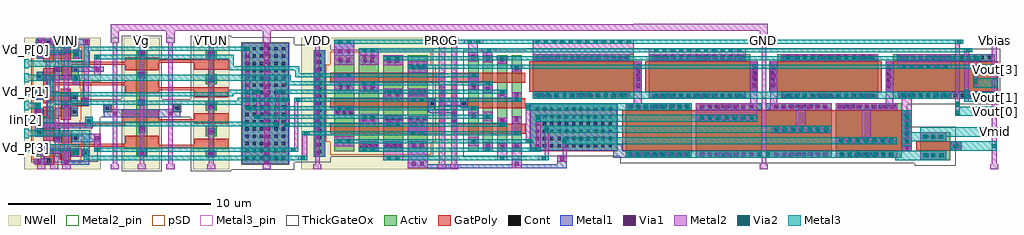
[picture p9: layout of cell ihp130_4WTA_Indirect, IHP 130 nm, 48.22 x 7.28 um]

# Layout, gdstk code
import gdstk
lib = gdstk.Library(unit=1e-6, precision=1e-09)
def R(c, l, rs):  # rectangles x0, y0, x1, y1
    for r in rs: c.add(gdstk.rectangle(r[:2], r[2:], *l))
def A(c, l, x, y, w, h, nx, ny, dx, dy):  # array of equal rectangles
    R(c, l, [(x+i*dx, y+j*dy, x+i*dx+w, y+j*dy+h) for i in range(nx) for j in range(ny)])
Activ = (1, 0)
GatPoly = (5, 0)
Cont = (6, 0)
Metal1 = (8, 0)
Metal2 = (10, 0)
Metal2_pin = (10, 2)
pSD = (14, 0)
Via1 = (19, 0)
Via2 = (29, 0)
Metal3 = (30, 0)
Metal3_pin = (30, 2)
NWell = (31, 0)
ThickGateOx = (44, 0)

indirectvmm_4x1_wtabias = lib.new_cell('IndirectVMM_4x1_WTABias')
R(indirectvmm_4x1_wtabias, Activ, [(5.72,2.17,7.74,2.59), (10.65,2.17,11.19,7.43), (14.07,2.17,14.61,2.46), (7.95,2.18,8.28,2.55), (14.21,2.46,14.5,3.17), (6.63,2.88,7.81,3.14), (5.72,3.14,7.81,3.3), (14.08,3.17,14.62,3.66), (5.72,3.3,6.9,3.56), (14.21,3.66,14.5,4.44), (5.72,4.03,6.82,4.17), (5.72,4.17,7.75,4.45), (9.05,4.38,9.41,4.73), (12.47,4.39,12.83,4.74), (14.08,4.44,14.62,4.93), (6.66,4.45,7.75,4.59), (6.66,4.91,7.75,4.99), (14.21,4.93,14.5,5.75), (5.72,4.99,7.75,5.33), (5.72,5.33,6.81,5.41), (14.08,5.75,14.62,6.24), (5.72,5.94,6.9,6.2), (5.72,6.2,7.81,6.36), (14.21,6.24,14.5,7.06), (6.63,6.36,7.81,6.62), (5.72,7,7.81,7.42), (14.08,7.06,14.62,7.43)])
R(indirectvmm_4x1_wtabias, GatPoly, [(6.06,1.76,6.56,2.77), (6.9,1.99,7.4,2.66), (10.09,2.56,11.75,2.6), (13.52,2.56,15.18,2.6), (10.09,2.6,15.18,2.66), (6.9,2.66,15.18,2.75), (6.9,2.75,11.75,2.81), (13.52,2.75,15.18,3.06), (6.97,2.81,7.47,3.48), (10.09,2.81,11.75,3.21), (6.06,2.95,6.56,3.66), (6.06,3.66,10.09,3.81), (13.52,3.8,15.18,3.86), (6.06,3.81,6.56,4.63), (9.93,3.81,10.09,3.85), (9.93,3.85,11.75,3.86), (9.93,3.86,15.18,4.01), (6.91,3.99,7.41,4.67), (9.93,4.01,11.75,4.5), (13.52,4.01,15.18,4.3), (6.91,4.67,8.31,4.82), (6.06,4.81,6.56,5.69), (6.91,4.82,7.41,5.51), (7.93,4.82,8.31,5.08), (13.52,5.09,15.18,5.44), (10.09,5.29,11.75,5.44), (10.09,5.44,15.18,5.59), (10.09,5.59,11.75,5.69), (6.06,5.69,11.75,5.84), (6.06,5.84,6.56,6.54), (10.09,5.84,11.75,5.94), (6.97,6.02,7.47,6.71), (10.09,6.43,11.75,6.71), (13.52,6.45,15.18,6.8), (6.97,6.71,11.75,6.74), (6.91,6.74,11.75,6.8), (6.91,6.8,15.18,6.86), (6.06,6.82,6.56,7.98), (6.91,6.86,7.41,7.6), (10.09,6.86,15.18,6.95), (10.09,6.95,11.75,7.08)])
R(indirectvmm_4x1_wtabias, Cont, [(6.23,1.87,6.39,2.03), (14.265,2.245,14.425,2.405), (8.04,2.28,8.2,2.44), (10.845,2.285,11.005,2.445), (5.79,2.3,5.95,2.46), (7.51,2.3,7.67,2.46), (6.7,2.99,6.86,3.15), (7.58,3,7.74,3.16), (5.79,3.26,5.95,3.42), (14.275,3.335,14.435,3.495), (10.845,3.475,11.005,3.635), (5.79,4.15,5.95,4.31), (7.52,4.3,7.68,4.46), (9.145,4.475,9.305,4.635), (12.575,4.485,12.735,4.645), (14.275,4.595,14.435,4.755), (10.825,4.765,10.985,4.925), (8.045,4.805,8.205,4.965), (7.52,5.03,7.68,5.19), (5.79,5.11,5.95,5.27), (14.275,5.895,14.435,6.055), (5.79,6.06,5.95,6.22), (10.845,6.115,11.005,6.275), (6.7,6.36,6.86,6.52), (7.58,6.36,7.74,6.52), (5.79,7.12,5.95,7.28), (7.58,7.12,7.74,7.28), (14.275,7.145,14.435,7.305), (10.845,7.195,11.005,7.355), (6.22,7.74,6.38,7.9)])
R(indirectvmm_4x1_wtabias, Metal1, [(6.95,1.77,8.32,1.99), (5.59,1.8,6.46,2.07), (6.95,1.99,7.18,2.32), (8.06,1.99,8.32,2.23), (6.16,2.07,6.46,2.1), (14.19,2.14,14.52,2.49), (7.4,2.17,7.79,2.59), (10.71,2.18,11.14,2.56), (7.99,2.23,8.32,2.49), (5.72,2.25,6.06,2.32), (5.72,2.32,7.18,2.59), (6.56,2.88,6.97,3.3), (7.47,2.88,8.9,3.3), (5.63,3.14,6.06,3.56), (14.19,3.26,14.52,3.57), (10.76,3.38,11.08,3.71), (5.63,3.56,8.49,3.84), (8.12,3.84,8.49,4.14), (5.63,4.03,6.06,4.57), (9.05,4.12,12.83,4.5), (7.41,4.17,7.75,4.54), (9.05,4.5,9.41,4.73), (12.47,4.5,12.83,4.74), (14.18,4.5,14.53,4.85), (6.97,4.54,7.75,4.91), (7.96,4.68,8.29,5.06), (10.74,4.68,11.07,5.01), (7.41,4.91,7.75,5.33), (5.7,4.99,6.06,5.41), (7.51,5.69,7.85,5.94), (14.19,5.81,14.52,6.13), (5.72,5.94,7.85,6.18), (10.75,6.03,11.09,6.36), (5.72,6.18,6.06,6.36), (6.58,6.36,6.97,6.62), (7.47,6.36,9.03,6.62), (5.72,7,6.06,7.19), (7.54,7,7.93,7.42), (14.17,7.06,14.52,7.39), (10.74,7.12,11.1,7.43), (5.72,7.19,7.34,7.42), (7.05,7.42,7.34,7.49), (5.68,7.67,8.35,7.96)])
R(indirectvmm_4x1_wtabias, Metal2, [(5.76,1.55,6.16,1.8), (6.39,1.55,6.79,1.8), (7,1.55,7.4,1.8), (9.39,1.55,9.79,1.8), (10.72,1.55,11.12,1.8), (12.14,1.55,12.54,1.8), (14.16,1.55,14.56,1.8), (5.59,1.8,6.16,2.07), (6.59,1.8,6.79,2.01), (7.07,1.8,7.3,7.8), (9.48,1.8,9.71,7.8), (10.81,1.8,11.04,7.8), (12.23,1.8,12.46,7.8), (14.24,1.8,14.47,7.8), (6.59,2.01,6.84,2.21), (5.93,2.07,6.13,2.61), (7.53,2.17,7.99,2.55), (6.61,2.21,6.84,7.32), (8.56,2.41,8.9,3.3), (5.93,2.61,6.39,2.83), (6.19,2.83,6.39,6.55), (8.12,3.56,8.49,4.14), (5.61,4.25,5.93,4.78), (7.99,4.75,8.29,5.05), (5.65,5.05,5.98,5.53), (8.06,5.05,8.29,7.68), (7.51,5.69,7.85,6.22), (8.56,6.2,8.9,7.19), (6.18,6.55,6.39,6.75), (6.18,6.75,6.38,7.09), (7.55,7,7.84,7.51), (5.87,7.09,6.38,7.29), (5.87,7.29,6.07,7.67), (6.59,7.32,6.84,7.45), (6.59,7.45,6.79,7.8), (5.76,7.67,6.07,7.77), (8.02,7.68,8.35,7.97), (5.76,7.77,6.16,8.05), (6.39,7.8,6.79,8.05), (7,7.8,7.4,8.05), (9.39,7.8,9.79,8.05), (10.72,7.8,11.12,8.05), (12.14,7.8,12.54,8.05), (14.16,7.8,14.56,8.05)])
R(indirectvmm_4x1_wtabias, Metal2_pin, [(5.76,7.8,6.16,8.05), (6.39,7.8,6.79,8.05), (7,7.8,7.4,8.05), (9.39,7.8,9.79,8.05), (10.72,7.8,11.12,8.05), (12.14,7.8,12.54,8.05), (14.16,7.8,14.56,8.05)])
R(indirectvmm_4x1_wtabias, pSD, [(5.66,1.77,7.8,1.99), (5.54,1.99,7.92,2.7), (5.54,2.7,7.99,3.48), (5.54,3.48,7.87,3.99), (5.54,3.99,7.93,5.51), (9.02,4.35,9.44,4.76), (12.44,4.36,12.86,4.77), (5.54,5.51,7.87,6.02), (5.54,6.02,7.99,7.6), (5.66,7.6,7.81,7.82)])
R(indirectvmm_4x1_wtabias, Via1, [(7.095,1.785,7.285,1.975), (5.735,1.835,5.925,2.025), (14.265,2.245,14.455,2.435), (10.835,2.265,11.025,2.455), (7.585,2.305,7.775,2.495), (6.635,2.985,6.825,3.175), (8.63,2.985,8.82,3.175), (14.265,3.315,14.455,3.505), (10.835,3.465,11.025,3.655), (8.215,3.82,8.405,4.01), (9.505,4.205,9.695,4.395), (12.245,4.205,12.435,4.395), (5.685,4.345,5.875,4.535), (14.255,4.585,14.445,4.775), (7.095,4.635,7.285,4.825), (10.825,4.765,11.015,4.955), (8.045,4.805,8.235,4.995), (5.725,5.155,5.915,5.345), (14.255,5.885,14.445,6.075), (7.575,5.935,7.765,6.125), (10.825,6.115,11.015,6.305), (6.635,6.385,6.825,6.575), (8.635,6.385,8.825,6.575), (7.595,7.125,7.785,7.315), (14.255,7.135,14.445,7.325), (10.835,7.175,11.025,7.365), (7.095,7.245,7.285,7.435), (8.095,7.72,8.285,7.91), (5.775,7.725,5.965,7.915)])
R(indirectvmm_4x1_wtabias, Via2, [(7.585,2.305,7.775,2.495), (8.635,2.415,8.825,2.605), (8.215,3.82,8.405,4.01), (5.675,4.555,5.865,4.745), (5.725,5.155,5.915,5.345), (7.575,5.975,7.765,6.165), (8.635,6.995,8.825,7.185), (7.595,7.185,7.785,7.375)])
R(indirectvmm_4x1_wtabias, Metal3, [(8.05,2,15.24,2.2), (8.05,2.2,8.35,3.17), (7.53,2.25,7.83,2.47), (5.1,2.39,5.33,2.47), (8.56,2.41,15.24,2.61), (5.1,2.47,7.83,2.77), (5.1,2.77,5.33,2.85), (5.1,3.08,5.33,3.17), (5.1,3.17,8.35,3.47), (5.1,3.47,5.33,3.54), (8.12,3.68,15.24,3.88), (5.1,3.77,5.33,3.85), (5.1,3.85,6.55,4.15), (8.12,3.88,8.49,4.14), (5.1,4.15,5.33,4.23), (6.25,4.15,6.55,4.73), (5.1,4.46,5.33,4.54), (5.1,4.54,5.93,4.84), (6.25,4.73,15.24,4.93), (5.1,4.84,5.33,4.92), (5.67,5.1,6.04,5.23), (6.25,5.14,15.24,5.34), (5.1,5.15,5.33,5.23), (5.1,5.23,6.04,5.53), (6.25,5.34,6.55,5.92), (5.1,5.53,5.33,5.61), (5.1,5.84,5.33,5.92), (5.1,5.92,6.55,6.22), (7.51,5.92,15.24,6.22), (5.1,6.22,5.33,6.3), (5.1,6.53,5.33,6.61), (5.1,6.61,8.35,6.91), (5.1,6.91,5.33,6.99), (8.05,6.91,8.35,7.4), (8.56,6.99,15.24,7.19), (7.54,7.13,7.84,7.3), (5.1,7.22,5.33,7.3), (5.1,7.3,7.84,7.6), (8.05,7.4,15.24,7.6), (5.1,7.6,5.33,7.68)])
A(indirectvmm_4x1_wtabias, Metal3_pin, 5.1, 2.39, 0.23, 0.46, 1, 8, 0, 0.69)
R(indirectvmm_4x1_wtabias, NWell, [(5.1,1.55,8.9,3.06), (10.03,1.55,11.81,8.05), (13.45,1.55,15.24,8.05), (5.1,3.06,8.43,5.87), (5.1,5.87,8.9,8.05)])
R(indirectvmm_4x1_wtabias, ThickGateOx, [(9.93,1.45,11.91,4.11), (13.35,1.45,15.34,4.12), (5.45,1.9,8.01,1.91), (5.45,1.91,8.745,2.71), (5.45,2.71,8.86,4.11), (5.45,4.11,11.91,4.12), (5.45,4.12,15.34,5), (5.45,5,8.02,5.93), (9.93,5,15.34,5.01), (9.93,5.01,11.91,8.15), (13.35,5.01,15.34,8.15), (5.45,5.93,8.08,7.69)])
indirectvmm_4x1_wtabias.add(gdstk.Label('Vd_P[0]', (5.215,7.45), layer=30, texttype=25))
indirectvmm_4x1_wtabias.add(gdstk.Label('Vd_R[0]', (5.215,6.76), layer=30, texttype=25))
indirectvmm_4x1_wtabias.add(gdstk.Label('Vd_R[1]', (5.215,6.07), layer=30, texttype=25))
indirectvmm_4x1_wtabias.add(gdstk.Label('Vd_P[1]', (5.215,5.38), layer=30, texttype=25))
indirectvmm_4x1_wtabias.add(gdstk.Label('Vd_P[2]', (5.215,4.69), layer=30, texttype=25))
indirectvmm_4x1_wtabias.add(gdstk.Label('Vd_R[2]', (5.215,4), layer=30, texttype=25))
indirectvmm_4x1_wtabias.add(gdstk.Label('Vd_R[3]', (5.215,3.31), layer=30, texttype=25))
indirectvmm_4x1_wtabias.add(gdstk.Label('Vd_P[3]', (5.215,2.62), layer=30, texttype=25))
indirectvmm_4x1_wtabias.add(gdstk.Label('Vs', (6.59,7.925), layer=10, texttype=25))
indirectvmm_4x1_wtabias.add(gdstk.Label('VINJ', (7.2,7.925), layer=10, texttype=25))
indirectvmm_4x1_wtabias.add(gdstk.Label('GND', (9.59,7.925), layer=10, texttype=25))
indirectvmm_4x1_wtabias.add(gdstk.Label('GND', (12.34,7.925), layer=10, texttype=25))
indirectvmm_4x1_wtabias.add(gdstk.Label('Vg', (10.92,7.925), layer=10, texttype=25))
indirectvmm_4x1_wtabias.add(gdstk.Label('VTUN', (14.36,7.925), layer=10, texttype=25))
indirectvmm_4x1_wtabias.add(gdstk.Label('Vsel', (5.96,7.925), layer=10, texttype=25))

ihp130_4wta_indirect = lib.new_cell('ihp130_4WTA_Indirect')
A(ihp130_4wta_indirect, Activ, 29.72, 0.55, 3.25, 2.7, 4, 1, 3.46, 0)
A(ihp130_4wta_indirect, Activ, 15.31, 0.87, 1, 4.75, 4, 1, 1.21, 0)
A(ihp130_4wta_indirect, Activ, 21.95, 0.87, 0.5, 4.75, 4, 1, 0.71, 0)
R(ihp130_4wta_indirect, Activ, [(10.75,0.24,13.07,6.24), (44.26,0.44,45.76,1.82), (14.31,0.61,14.88,5.87), (25.01,0.9,29.29,3.22), (25.12,3.47,30.12,5.67), (30.86,3.47,35.86,5.67), (37.2,3.47,42.2,5.67), (42.94,3.47,47.94,5.67)])
R(ihp130_4wta_indirect, GatPoly, [(29.54,0.9,43.86,2.9), (44.08,0.9,46.32,1.36), (21.1,1.74,24.76,2.24), (15.13,1.75,20.79,2.25), (21.1,2.24,21.4,4.25), (20.49,2.25,20.79,4.25), (15.13,3,20.31,3.5), (21.58,3,24.76,3.5), (24.94,3.82,30.5,5.32), (30.68,3.82,36.25,5.32), (36.81,3.82,42.38,5.32), (42.56,3.82,48.12,5.32), (15.13,4.25,20.79,4.75), (21.1,4.25,24.76,4.75)])
A(ihp130_4wta_indirect, Cont, 10.925, 0.455, 0.16, 0.16, 6, 16, 0.36, 0.36)
A(ihp130_4wta_indirect, Cont, 44.52, 0.59, 0.16, 0.16, 3, 1, 0.34, 0)
A(ihp130_4wta_indirect, Cont, 30.065, 0.62, 0.16, 0.16, 8, 1, 0.34, 0)
A(ihp130_4wta_indirect, Cont, 33.435, 0.63, 0.16, 0.16, 8, 2, 0.34, 2.385)
A(ihp130_4wta_indirect, Cont, 37.105, 0.63, 0.16, 0.16, 8, 1, 0.34, 0)
A(ihp130_4wta_indirect, Cont, 40.345, 0.63, 0.16, 0.16, 8, 1, 0.34, 0)
A(ihp130_4wta_indirect, Cont, 14.515, 0.78, 0.16, 0.16, 1, 15, 0, 0.34)
A(ihp130_4wta_indirect, Cont, 43.53, 0.97, 0.16, 0.16, 1, 6, 0, 0.34)
A(ihp130_4wta_indirect, Cont, 16.595, 1.05, 0.16, 0.16, 3, 1, 0.34, 0)
A(ihp130_4wta_indirect, Cont, 17.82, 1.06, 0.16, 0.16, 3, 1, 0.34, 0)
A(ihp130_4wta_indirect, Cont, 25.27, 1.065, 0.16, 0.16, 11, 6, 0.36, 0.36)
A(ihp130_4wta_indirect, Cont, 44.5, 1.535, 0.16, 0.16, 3, 1, 0.34, 0)
A(ihp130_4wta_indirect, Cont, 19.02, 2.405, 0.16, 0.16, 3, 2, 0.34, 1.295)
A(ihp130_4wta_indirect, Cont, 17.81, 2.415, 0.16, 0.16, 3, 1, 0.34, 0)
A(ihp130_4wta_indirect, Cont, 15.39, 2.69, 0.16, 0.16, 3, 1, 0.34, 0)
A(ihp130_4wta_indirect, Cont, 29.92, 3.01, 0.16, 0.16, 9, 1, 0.34, 0)
A(ihp130_4wta_indirect, Cont, 40.185, 3.01, 0.16, 0.16, 9, 1, 0.34, 0)
A(ihp130_4wta_indirect, Cont, 37.095, 3.02, 0.16, 0.16, 8, 1, 0.34, 0)
A(ihp130_4wta_indirect, Cont, 37.465, 3.545, 0.16, 0.16, 14, 1, 0.34, 0)
A(ihp130_4wta_indirect, Cont, 43.215, 3.545, 0.16, 0.16, 14, 1, 0.34, 0)
A(ihp130_4wta_indirect, Cont, 25.235, 3.55, 0.16, 0.16, 14, 1, 0.34, 0)
A(ihp130_4wta_indirect, Cont, 31.02, 3.55, 0.16, 0.16, 14, 1, 0.34, 0)
A(ihp130_4wta_indirect, Cont, 17.805, 3.705, 0.16, 0.16, 3, 1, 0.34, 0)
A(ihp130_4wta_indirect, Cont, 36.89, 3.975, 0.16, 0.16, 1, 4, 0, 0.34)
A(ihp130_4wta_indirect, Cont, 42.64, 3.975, 0.16, 0.16, 1, 4, 0, 0.34)
A(ihp130_4wta_indirect, Cont, 36.005, 3.985, 0.16, 0.16, 1, 4, 0, 0.34)
A(ihp130_4wta_indirect, Cont, 30.27, 3.99, 0.16, 0.16, 1, 4, 0, 0.34)
A(ihp130_4wta_indirect, Cont, 19.02, 5.005, 0.16, 0.16, 3, 1, 0.34, 0)
A(ihp130_4wta_indirect, Cont, 43.175, 5.43, 0.16, 0.16, 14, 1, 0.34, 0)
A(ihp130_4wta_indirect, Cont, 25.27, 5.435, 0.16, 0.16, 14, 1, 0.34, 0)
A(ihp130_4wta_indirect, Cont, 37.475, 5.435, 0.16, 0.16, 14, 1, 0.34, 0)
A(ihp130_4wta_indirect, Cont, 31.015, 5.44, 0.16, 0.16, 14, 1, 0.34, 0)
R(ihp130_4wta_indirect, Cont, [(23.54,1,23.7,1.16), (24.245,1.025,24.405,1.185), (45.99,1.055,46.15,1.215), (19.195,1.07,19.355,1.23), (19.535,1.07,19.695,1.23), (22.83,1.07,22.99,1.23), (22.12,1.27,22.28,1.43), (15.535,1.285,15.695,1.445), (15.875,1.285,16.035,1.445), (21.17,2.275,21.33,2.435), (23.545,2.365,23.705,2.525), (24.25,2.4,24.41,2.56), (16.765,2.45,16.925,2.61), (17.105,2.45,17.265,2.61), (22.835,2.515,22.995,2.675), (22.115,2.55,22.275,2.71), (21.17,2.615,21.33,2.775), (20.08,3.16,20.24,3.32), (21.65,3.16,21.81,3.32), (20.56,3.355,20.72,3.515), (24.25,3.63,24.41,3.79), (23.54,3.685,23.7,3.845), (20.56,3.695,20.72,3.855), (16.765,3.855,16.925,4.015), (17.105,3.855,17.265,4.015), (22.825,3.895,22.985,4.055), (15.565,3.915,15.725,4.075), (15.905,3.915,16.065,4.075), (22.12,3.95,22.28,4.11), (24.26,4.91,24.42,5.07), (17.975,5.25,18.135,5.41), (18.315,5.25,18.475,5.41), (15.56,5.265,15.72,5.425), (15.9,5.265,16.06,5.425), (16.765,5.275,16.925,5.435), (17.105,5.275,17.265,5.435), (23.535,5.3,23.695,5.46), (22.825,5.33,22.985,5.49), (22.1,5.35,22.26,5.51)])
A(ihp130_4wta_indirect, Metal1, 29.72, 2.9, 3.25, 0.35, 3, 1, 3.46, 0)
R(ihp130_4wta_indirect, Metal1, [(18.94,0.03,26.81,0.23), (18.94,0.23,19.94,1.38), (24.08,0.23,24.58,0.5), (26.33,0.23,26.81,0.67), (10.75,0.24,13.07,6.24), (44.26,0.44,45.55,0.9), (29.11,0.55,32.97,0.9), (33.18,0.55,36.43,0.9), (36.64,0.55,39.89,0.9), (40.1,0.55,43.14,0.9), (14.31,0.61,14.88,5.87), (22.66,0.85,23.16,1.33), (16.52,0.87,17.52,1.38), (17.73,0.87,18.73,1.38), (23.37,0.87,23.87,1.26), (24.08,0.87,24.58,1.26), (25.01,0.9,29.54,1.22), (43.35,0.9,43.86,2.9), (45.76,0.9,46.32,1.36), (21.95,1.12,22.45,1.59), (15.31,1.13,16.31,1.61), (25.01,1.22,29.29,3.22), (44.26,1.36,45.55,1.82), (18.94,1.67,19.94,2.61), (17.73,2.08,18.73,2.63), (23.37,2.08,23.87,2.54), (21.1,2.11,21.4,2.76), (16.52,2.22,17.52,2.7), (24.08,2.24,24.58,2.61), (22.66,2.36,23.16,2.82), (21.95,2.47,22.45,2.81), (15.31,2.66,16.31,3.12), (20.04,2.76,21.4,2.79), (19.94,2.79,21.4,2.95), (40.1,2.9,43.13,3.25), (19.94,2.95,20.31,3.41), (21.58,3,21.91,3.13), (20.49,3.13,21.91,3.5), (24.08,3.31,24.58,3.8), (17.73,3.43,18.73,3.96), (25.12,3.47,29.91,3.82), (30.86,3.47,35.65,3.82), (37.41,3.47,42.2,3.82), (43.15,3.47,47.94,3.82), (20.49,3.5,20.79,4.07), (23.37,3.5,23.87,3.92), (18.94,3.6,19.94,3.95), (22.66,3.77,23.16,4.33), (16.52,3.78,17.52,4.33), (30.12,3.82,30.5,5.32), (35.86,3.82,36.25,5.32), (36.81,3.82,37.2,5.32), (42.56,3.82,42.94,5.32), (15.31,3.86,16.31,4.74), (21.95,3.92,22.45,4.74), (18.94,4.75,19.94,5.31), (24.08,4.79,24.58,5.15), (17.73,5.12,18.73,5.62), (15.31,5.15,16.31,6.38), (16.52,5.16,17.52,5.97), (23.37,5.2,23.84,5.56), (22.66,5.27,23.13,5.77), (21.95,5.31,22.4,5.77), (25.12,5.32,29.91,5.67), (30.86,5.32,35.65,5.67), (37.41,5.32,42.2,5.67), (43.12,5.32,47.94,5.67)])
R(ihp130_4wta_indirect, Metal2, [(11.78,-0.01,12.18,0.24), (14.28,-0.01,14.68,0.24), (20.44,-0.01,20.84,0.24), (21.05,-0.01,21.45,0.24), (36.34,-0.01,36.74,0.24), (47.72,-0.01,48.12,0.24), (18.94,0.03,19.94,1.38), (24.08,0.03,24.58,1.26), (11.87,0.24,12.1,6.24), (14.37,0.24,14.6,6.24), (20.49,0.24,20.79,6.24), (21.1,0.24,21.4,6.24), (36.43,0.24,36.66,0.55), (47.81,0.24,48.04,6.24), (26.33,0.36,26.81,0.67), (13.54,0.44,13.99,0.64), (17.73,0.44,18.73,1.38), (23.37,0.44,23.87,1.26), (25.41,0.44,25.92,0.64), (44.26,0.44,45.55,0.9), (29.72,0.55,32.97,0.9), (33.18,0.55,39.89,0.9), (40.1,0.55,43.14,0.9), (13.74,0.64,13.99,1.67), (25.72,0.64,25.92,2.13), (26.61,0.67,26.81,1.57), (13.06,0.85,13.53,1.05), (16.52,0.85,17.52,1.38), (22.66,0.85,23.16,1.33), (25.05,0.85,25.51,1.05), (36.43,0.9,36.66,6.24), (43.35,0.9,43.86,3.47), (45.76,0.9,46.32,1.36), (13.33,1.05,13.53,3.31), (25.31,1.05,25.51,2.69), (21.95,1.12,22.45,1.59), (15.31,1.13,16.31,1.61), (40.1,1.22,43.11,1.57), (24.79,1.26,25.1,1.46), (44.26,1.36,45.55,1.82), (24.79,1.46,24.99,3.25), (41.39,1.57,41.82,2.9), (13.74,1.67,14.1,1.87), (18.94,1.67,19.94,2.61), (24.08,1.67,24.58,2.61), (36.9,1.77,39.89,2.13), (12.31,2.08,12.61,2.28), (12.82,2.08,13.12,2.28), (17.73,2.08,18.73,2.63), (23.37,2.08,23.87,2.54), (38.13,2.13,38.61,2.9), (16.52,2.22,17.52,2.7), (12.41,2.28,12.61,3.72), (12.92,2.28,13.12,3.31), (33.18,2.34,36.22,3.25), (22.66,2.36,23.16,2.82), (21.95,2.47,22.45,3.1), (11.36,2.49,11.66,2.69), (46,2.62,46.23,6.18), (15.31,2.66,16.31,3.12), (11.46,2.69,11.66,3.72), (10.95,2.9,11.25,3.1), (29.72,2.9,32.97,3.25), (36.87,2.9,39.89,3.25), (40.1,2.9,43.13,3.25), (10.95,3.1,11.15,5.84), (30.12,3.25,30.5,5.32), (35.86,3.25,36.22,5.32), (36.87,3.25,37.2,5.32), (42.56,3.25,42.94,5.32), (12.82,3.31,13.12,3.51), (13.33,3.31,13.73,3.51), (18.94,3.31,19.94,3.95), (24.08,3.31,24.58,3.8), (46.44,3.32,46.67,5.77), (17.73,3.43,18.73,3.96), (25.12,3.47,29.91,3.82), (43.15,3.47,45.79,3.82), (30.86,3.49,35.65,3.82), (37.41,3.49,42.2,3.82), (23.37,3.5,23.87,3.92), (11.36,3.72,11.66,3.92), (12.41,3.72,12.71,3.92), (22.66,3.77,23.16,4.33), (16.52,3.78,17.52,4.33), (15.31,3.86,16.31,4.74), (21.95,3.92,22.45,4.74), (46.88,4.02,47.11,5.36), (18.94,4.75,19.94,5.31), (24.08,4.79,24.58,4.95), (24.05,4.95,24.61,5.15), (43.16,4.95,45.79,5.67), (17.73,5.12,18.73,5.62), (15.31,5.15,16.31,6.38), (16.52,5.16,17.52,5.97), (23.37,5.2,23.84,5.36), (22.66,5.27,23.13,5.77), (21.95,5.31,22.4,6.18), (25.12,5.32,29.91,5.67), (30.86,5.32,35.65,5.97), (37.41,5.32,42.2,5.67), (23.34,5.36,23.9,5.56), (46.88,5.36,47.28,5.56), (25.12,5.67,30.12,6.38), (22.61,5.77,23.33,5.97), (46.44,5.77,46.84,5.97), (10.84,5.84,11.15,6.04), (21.74,6.18,22.67,6.38), (46,6.18,46.4,6.38), (0.65,6.24,1.05,6.49), (1.28,6.24,1.68,6.49), (1.89,6.24,2.29,6.49), (4.28,6.24,4.68,6.83), (5.61,6.24,6.01,6.49), (7.03,6.24,7.43,6.83), (9.05,6.24,9.45,6.49), (11.78,6.24,12.18,6.83), (14.28,6.24,14.68,6.49), (20.44,6.24,20.84,6.49), (21.05,6.24,21.45,6.49), (36.34,6.24,36.74,6.83), (47.72,6.24,48.12,6.49), (4.28,6.83,36.74,7.16), (30.14,7.16,36.74,7.17)])
R(ihp130_4wta_indirect, Metal2_pin, [(0.65,6.24,1.05,6.49), (1.28,6.24,1.68,6.49), (1.89,6.24,2.29,6.49), (5.61,6.24,6.01,6.49), (9.05,6.24,9.45,6.49), (14.28,6.24,14.68,6.49), (20.44,6.24,20.84,6.49), (21.05,6.24,21.45,6.49), (36.34,6.24,36.74,6.49), (47.72,6.24,48.12,6.49)])
R(ihp130_4wta_indirect, pSD, [(10.72,0.21,13.1,6.27), (15.13,0.69,20.12,1.35), (24.98,0.87,29.32,3.25), (14.91,1.35,20.34,5.15), (15.13,5.15,20.12,5.8)])
A(ihp130_4wta_indirect, Via1, 11.89, 0.275, 0.19, 0.19, 1, 15, 0, 0.41)
A(ihp130_4wta_indirect, Via1, 44.41, 0.58, 0.19, 0.19, 3, 1, 0.41, 0)
A(ihp130_4wta_indirect, Via1, 40.29, 0.615, 0.19, 0.19, 7, 1, 0.41, 0)
A(ihp130_4wta_indirect, Via1, 30.01, 0.63, 0.19, 0.19, 7, 1, 0.41, 0)
A(ihp130_4wta_indirect, Via1, 33.38, 0.63, 0.19, 0.19, 7, 2, 0.41, 2.34)
A(ihp130_4wta_indirect, Via1, 37.05, 0.64, 0.19, 0.19, 7, 1, 0.41, 0)
A(ihp130_4wta_indirect, Via1, 14.39, 0.68, 0.19, 0.19, 1, 13, 0, 0.41)
A(ihp130_4wta_indirect, Via1, 43.52, 0.985, 0.19, 0.19, 1, 5, 0, 0.41)
A(ihp130_4wta_indirect, Via1, 44.405, 1.5, 0.19, 0.19, 3, 1, 0.41, 0)
A(ihp130_4wta_indirect, Via1, 37.03, 2.965, 0.19, 0.19, 7, 1, 0.41, 0)
A(ihp130_4wta_indirect, Via1, 40.295, 2.98, 0.19, 0.19, 7, 1, 0.41, 0)
A(ihp130_4wta_indirect, Via1, 29.825, 2.985, 0.19, 0.19, 8, 1, 0.41, 0)
A(ihp130_4wta_indirect, Via1, 31.11, 3.535, 0.19, 0.19, 11, 1, 0.41, 0)
A(ihp130_4wta_indirect, Via1, 37.65, 3.535, 0.19, 0.19, 11, 1, 0.41, 0)
A(ihp130_4wta_indirect, Via1, 43.35, 3.54, 0.19, 0.19, 6, 1, 0.41, 0)
A(ihp130_4wta_indirect, Via1, 25.37, 3.55, 0.19, 0.19, 11, 1, 0.41, 0)
A(ihp130_4wta_indirect, Via1, 42.65, 4.06, 0.19, 0.19, 1, 3, 0, 0.41)
A(ihp130_4wta_indirect, Via1, 30.215, 4.065, 0.19, 0.19, 1, 3, 0, 0.41)
A(ihp130_4wta_indirect, Via1, 35.97, 4.065, 0.19, 0.19, 1, 3, 0, 0.41)
A(ihp130_4wta_indirect, Via1, 36.945, 4.07, 0.19, 0.19, 1, 3, 0, 0.41)
A(ihp130_4wta_indirect, Via1, 25.375, 5.345, 0.19, 0.19, 11, 1, 0.41, 0)
A(ihp130_4wta_indirect, Via1, 43.385, 5.405, 0.19, 0.19, 6, 1, 0.41, 0)
A(ihp130_4wta_indirect, Via1, 31.135, 5.43, 0.19, 0.19, 11, 1, 0.41, 0)
A(ihp130_4wta_indirect, Via1, 37.645, 5.45, 0.19, 0.19, 11, 1, 0.41, 0)
R(ihp130_4wta_indirect, Via1, [(19.145,0.155,19.335,0.345), (19.555,0.155,19.745,0.345), (24.24,0.16,24.43,0.35), (26.48,0.41,26.67,0.6), (23.535,0.965,23.725,1.155), (24.24,0.99,24.43,1.18), (16.72,1.02,16.91,1.21), (17.13,1.02,17.32,1.21), (17.94,1.03,18.13,1.22), (18.35,1.03,18.54,1.22), (45.95,1.035,46.14,1.225), (19.15,1.045,19.34,1.235), (19.56,1.045,19.75,1.235), (22.815,1.055,23.005,1.245), (22.105,1.255,22.295,1.445), (15.49,1.27,15.68,1.46), (15.9,1.27,16.09,1.46), (19.14,2.145,19.33,2.335), (19.55,2.145,19.74,2.335), (21.155,2.225,21.345,2.415), (17.935,2.265,18.125,2.455), (18.345,2.265,18.535,2.455), (23.525,2.295,23.715,2.485), (24.23,2.32,24.42,2.51), (16.715,2.365,16.905,2.555), (17.125,2.365,17.315,2.555), (22.82,2.5,23.01,2.69), (22.1,2.54,22.29,2.73), (21.155,2.635,21.345,2.825), (15.46,2.795,15.65,2.985), (16.02,2.8,16.21,2.99), (20.54,3.3,20.73,3.49), (24.23,3.475,24.42,3.665), (17.925,3.585,18.115,3.775), (18.335,3.585,18.525,3.775), (23.525,3.62,23.715,3.81), (19.135,3.665,19.325,3.855), (19.545,3.665,19.735,3.855), (20.54,3.71,20.73,3.9), (22.81,3.88,23,4.07), (16.72,4,16.91,4.19), (17.13,4,17.32,4.19), (15.515,4.11,15.705,4.3), (15.925,4.11,16.115,4.3), (22.105,4.145,22.295,4.335), (24.245,4.875,24.435,5.065), (19.14,4.935,19.33,5.125), (19.55,4.935,19.74,5.125), (17.93,5.275,18.12,5.465), (18.34,5.275,18.53,5.465), (23.505,5.285,23.695,5.475), (15.515,5.31,15.705,5.5), (15.925,5.31,16.115,5.5), (22.805,5.425,22.995,5.615), (22.09,5.455,22.28,5.645), (16.715,5.46,16.905,5.65), (17.125,5.46,17.315,5.65), (15.515,5.72,15.705,5.91), (15.925,5.72,16.115,5.91)])
A(ihp130_4wta_indirect, Via2, 23.525, 0.445, 0.19, 0.19, 1, 3, 0, 1.64)
A(ihp130_4wta_indirect, Via2, 44.41, 0.58, 0.19, 0.19, 3, 1, 0.41, 0)
A(ihp130_4wta_indirect, Via2, 29.82, 0.63, 0.19, 0.19, 8, 1, 0.41, 0)
A(ihp130_4wta_indirect, Via2, 40.29, 0.63, 0.19, 0.19, 7, 1, 0.41, 0)
A(ihp130_4wta_indirect, Via2, 22.105, 1.265, 0.19, 0.19, 1, 3, 0, 1.64)
A(ihp130_4wta_indirect, Via2, 43.52, 1.27, 0.19, 0.19, 1, 4, 0, 0.41)
A(ihp130_4wta_indirect, Via2, 40.27, 1.3, 0.19, 0.19, 7, 1, 0.41, 0)
A(ihp130_4wta_indirect, Via2, 44.4, 1.495, 0.19, 0.19, 3, 1, 0.41, 0)
A(ihp130_4wta_indirect, Via2, 37.075, 1.86, 0.19, 0.19, 7, 1, 0.41, 0)
A(ihp130_4wta_indirect, Via2, 33.375, 2.42, 0.19, 0.19, 7, 1, 0.41, 0)
A(ihp130_4wta_indirect, Via2, 16.715, 2.495, 0.19, 0.19, 1, 3, 0, 1.64)
A(ihp130_4wta_indirect, Via2, 17.125, 2.495, 0.19, 0.19, 1, 3, 0, 1.64)
A(ihp130_4wta_indirect, Via2, 29.815, 2.98, 0.19, 0.19, 8, 1, 0.41, 0)
A(ihp130_4wta_indirect, Via2, 31.11, 3.535, 0.19, 0.19, 11, 1, 0.41, 0)
A(ihp130_4wta_indirect, Via2, 37.65, 3.535, 0.19, 0.19, 11, 1, 0.41, 0)
A(ihp130_4wta_indirect, Via2, 43.35, 3.54, 0.19, 0.19, 6, 1, 0.41, 0)
A(ihp130_4wta_indirect, Via2, 25.37, 3.55, 0.19, 0.19, 11, 1, 0.41, 0)
A(ihp130_4wta_indirect, Via2, 43.36, 4.955, 0.19, 0.19, 6, 1, 0.41, 0)
A(ihp130_4wta_indirect, Via2, 37.655, 5.365, 0.19, 0.19, 11, 1, 0.41, 0)
A(ihp130_4wta_indirect, Via2, 31.13, 5.775, 0.19, 0.19, 11, 1, 0.41, 0)
A(ihp130_4wta_indirect, Via2, 25.265, 6.185, 0.19, 0.19, 12, 1, 0.41, 0)
R(ihp130_4wta_indirect, Via2, [(13.67,0.445,13.86,0.635), (17.925,0.445,18.115,0.635), (18.335,0.445,18.525,0.635), (25.575,0.445,25.765,0.635), (36.245,0.63,36.435,0.82), (36.655,0.63,36.845,0.82), (13.2,0.855,13.39,1.045), (16.72,0.855,16.91,1.045), (17.13,0.855,17.32,1.045), (22.815,0.855,23.005,1.045), (25.185,0.855,25.375,1.045), (45.95,1.035,46.14,1.225), (47.83,1.04,48.02,1.23), (15.5,1.265,15.69,1.455), (15.91,1.265,16.1,1.455), (24.85,1.265,25.04,1.455), (26.615,1.3,26.805,1.49), (13.825,1.675,14.015,1.865), (19.13,1.675,19.32,1.865), (19.54,1.675,19.73,1.865), (24.23,1.675,24.42,1.865), (25.725,1.86,25.915,2.05), (12.365,2.085,12.555,2.275), (12.875,2.085,13.065,2.275), (17.93,2.085,18.12,2.275), (18.34,2.085,18.53,2.275), (25.315,2.42,25.505,2.61), (11.415,2.495,11.605,2.685), (22.81,2.495,23,2.685), (46.02,2.675,46.21,2.865), (11.005,2.905,11.195,3.095), (15.51,2.905,15.7,3.095), (15.92,2.905,16.11,3.095), (24.795,2.98,24.985,3.17), (46.02,3.085,46.21,3.275), (12.875,3.315,13.065,3.505), (13.435,3.315,13.625,3.505), (19.13,3.315,19.32,3.505), (19.54,3.315,19.73,3.505), (24.235,3.315,24.425,3.505), (46.46,3.52,46.65,3.71), (11.415,3.725,11.605,3.915), (12.465,3.725,12.655,3.915), (17.93,3.725,18.12,3.915), (18.34,3.725,18.53,3.915), (22.815,4.135,23.005,4.325), (46.9,4.245,47.09,4.435), (15.505,4.545,15.695,4.735), (15.915,4.545,16.105,4.735), (19.14,4.955,19.33,5.145), (19.55,4.955,19.74,5.145), (24.235,4.955,24.425,5.145), (17.92,5.365,18.11,5.555), (18.33,5.365,18.52,5.555), (23.515,5.365,23.705,5.555), (46.985,5.365,47.175,5.555), (22.87,5.775,23.06,5.965), (46.545,5.775,46.735,5.965), (10.9,5.845,11.09,6.035), (15.515,6.185,15.705,6.375), (15.925,6.185,16.115,6.375), (21.915,6.185,22.105,6.375), (22.325,6.185,22.515,6.375), (46.105,6.185,46.295,6.375)])
A(ihp130_4wta_indirect, Metal3, -0.01, 0.83, 0.23, 0.46, 1, 8, 0, 0.69)
R(ihp130_4wta_indirect, Metal3, [(10.13,0.44,13.99,0.64), (17.73,0.44,25.92,0.64), (43.03,0.44,45.55,0.55), (29.72,0.55,45.55,0.9), (10.13,0.85,13.53,1.05), (16.52,0.85,25.51,1.05), (45.76,0.9,48.04,1.36), (43.35,1.11,43.86,1.36), (26.61,1.22,43.11,1.57), (15.31,1.26,25.1,1.46), (43.35,1.36,45.55,1.6), (43.35,1.6,48.12,1.82), (13.74,1.67,24.58,1.87), (25.72,1.78,39.89,2.13), (43.35,1.82,43.86,2.9), (44.26,1.82,48.12,2.06), (11.03,2.08,12.61,2.12), (12.82,2.08,23.87,2.28), (10.13,2.12,12.61,2.28), (10.13,2.28,11.15,2.32), (25.31,2.34,36.22,2.69), (11.36,2.49,23.16,2.69), (46,2.62,48.12,3.08), (10.95,2.9,22.45,3.1), (24.79,2.9,32.97,3.25), (46,3.08,46.23,3.33), (10.13,3.17,10.74,3.31), (10.13,3.31,13.12,3.37), (13.33,3.31,24.58,3.51), (46.44,3.32,48.12,3.78), (10.54,3.37,13.12,3.51), (25.12,3.47,45.79,3.82), (10.13,3.58,10.33,3.72), (10.13,3.72,11.66,3.92), (12.41,3.72,23.87,3.92), (46.44,3.78,46.67,3.92), (46.88,4.02,48.12,4.48), (12.91,4.13,23.16,4.33), (12.91,4.33,13.18,4.36), (10.13,4.36,13.18,4.66), (46.88,4.48,47.11,4.67), (13.39,4.54,22.45,4.74), (47.32,4.69,48.12,4.95), (13.39,4.74,13.59,4.87), (10.13,4.87,13.59,5.07), (18.94,4.95,48.12,5.15), (10.13,5.07,10.35,5.63), (17.73,5.36,47.28,5.56), (16.52,5.77,46.84,5.97), (10.13,5.84,11.15,6.04), (15.31,6.18,46.4,6.38)])
A(ihp130_4wta_indirect, Metal3_pin, -0.01, 0.83, 0.23, 0.46, 1, 8, 0, 0.69)
A(ihp130_4wta_indirect, Metal3_pin, 47.81, 2.62, 0.31, 0.46, 1, 3, 0, 0.7)
R(ihp130_4wta_indirect, Metal3_pin, [(47.81,1.6,48.12,2.06), (47.81,4.69,48.12,5.15)])
R(ihp130_4wta_indirect, NWell, [(13.69,-0.01,21.33,6.49)])
R(ihp130_4wta_indirect, ThickGateOx, [(10.23,-0.03,13.34,0.34), (43.99,0.17,46.03,0.28), (29.45,0.28,46.03,0.63), (10.23,0.34,15.15,0.6), (10.23,0.6,20.21,5.89), (21.68,0.6,24.85,0.63), (21.68,0.63,46.03,2.09), (21.68,2.09,43.62,3.2), (21.68,3.2,48.21,5.89), (10.23,5.89,15.15,6.14), (24.85,5.89,48.21,5.94), (10.23,6.14,13.34,6.51)])
ihp130_4wta_indirect.add(gdstk.Reference(indirectvmm_4x1_wtabias, (-5.11,-1.56)))
ihp130_4wta_indirect.add(gdstk.Label('Vout[3]', (47.965,4.92), layer=30, texttype=25))
ihp130_4wta_indirect.add(gdstk.Label('Vout[2]', (47.965,4.25), layer=30, texttype=25))
ihp130_4wta_indirect.add(gdstk.Label('Vout[1]', (47.965,3.55), layer=30, texttype=25))
ihp130_4wta_indirect.add(gdstk.Label('Vout[0]', (47.965,2.85), layer=30, texttype=25))
ihp130_4wta_indirect.add(gdstk.Label('Vmid', (47.965,1.83), layer=30, texttype=25))
ihp130_4wta_indirect.add(gdstk.Label('Vd_P[0]', (0.105,5.89), layer=30, texttype=25))
ihp130_4wta_indirect.add(gdstk.Label('Vd_P[1]', (0.105,3.82), layer=30, texttype=25))
ihp130_4wta_indirect.add(gdstk.Label('Vd_P[2]', (0.105,3.13), layer=30, texttype=25))
ihp130_4wta_indirect.add(gdstk.Label('Vd_P[3]', (0.105,1.06), layer=30, texttype=25))
ihp130_4wta_indirect.add(gdstk.Label('Iin[0]', (0.105,5.2), layer=30, texttype=25))
ihp130_4wta_indirect.add(gdstk.Label('Iin[1]', (0.105,4.51), layer=30, texttype=25))
ihp130_4wta_indirect.add(gdstk.Label('Iin[2]', (0.105,2.44), layer=30, texttype=25))
ihp130_4wta_indirect.add(gdstk.Label('Iin[3]', (0.105,1.75), layer=30, texttype=25))
ihp130_4wta_indirect.add(gdstk.Label('GND', (36.54,6.365), layer=10, texttype=25))
ihp130_4wta_indirect.add(gdstk.Label('Vbias', (47.92,6.365), layer=10, texttype=25))
ihp130_4wta_indirect.add(gdstk.Label('VDD', (14.48,6.365), layer=10, texttype=25))
ihp130_4wta_indirect.add(gdstk.Label('PROG', (20.64,6.365), layer=10, texttype=25))
ihp130_4wta_indirect.add(gdstk.Label('RUN', (21.25,6.365), layer=10, texttype=25))
ihp130_4wta_indirect.add(gdstk.Label('VTUN', (9.25,6.365), layer=10, texttype=25))
ihp130_4wta_indirect.add(gdstk.Label('Vg', (5.81,6.365), layer=10, texttype=25))
ihp130_4wta_indirect.add(gdstk.Label('VINJ', (2.09,6.365), layer=10, texttype=25))
ihp130_4wta_indirect.add(gdstk.Label('Vs', (1.48,6.365), layer=10, texttype=25))
ihp130_4wta_indirect.add(gdstk.Label('Vsel', (0.85,6.365), layer=10, texttype=25))

lib.write_gds('ihp130_4WTA_Indirect.gds')
